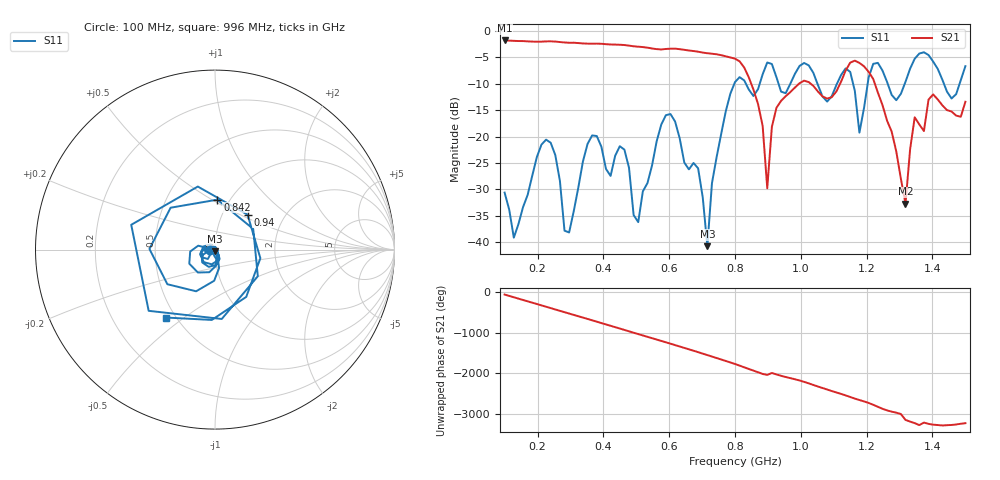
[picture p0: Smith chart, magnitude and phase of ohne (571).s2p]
! NanoVNA-App
! Date: 2025-09-25 14:25:14
! Start: 100MHz Stop: 1,5GHz Points: 101
! S-Parameter data: F S11 S21 S12 S22
# Hz S RI R 50
!  Frequency  S11_Real  S11_Imag  S21_Real  S21_Imag  S12_Real  S12_Imag  S22_Real  S22_Imag
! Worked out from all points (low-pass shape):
!   101 points, 100 MHz to 1.5 GHz, reference 50 ohm
!   highest |S21| = -1.79 dB at 100 MHz (marker M1); lowest = -32.7 dB at 1.318 GHz (marker M2)
!   |S21| within 3 dB of the highest: start of sweep to 771.3 MHz
!   lowest |S11| = -40.8 dB at 716 MHz (marker M3), VSWR 1.02, Z = 49.7 - j0.876 ohm
!   |S11| at or under -10 dB: start of sweep to 798 MHz; 833.1 MHz to 875.1 MHz (42.01 MHz wide, 4.92 % of centre); 1.051 GHz to 1.11 GHz (59.28 MHz wide, 5.49 % of centre) (the widest 3 of 7)
!   S12 and S22 are empty: the file has one direction only
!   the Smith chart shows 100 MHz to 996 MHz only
!   S11 on the Smith chart (normalised r, x): 100 MHz: 0.94, -0.01; 842 MHz: 0.88, +0.53; 940 MHz: 1.31, +0.55; 996 MHz: 0.44, -0.43
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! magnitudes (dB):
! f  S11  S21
! 100 MHz  -30.6  -1.8
! 128 MHz  -39.2  -1.9
! 226 MHz  -20.6  -2.0
! 296 MHz  -38.2  -2.2
! 338 MHz  -24.7  -2.4
! 464 MHz  -22.5  -2.7
! 506 MHz  -36.2  -3.0
! 576 MHz  -17.7  -3.5
! 688 MHz  -26.0  -3.9
! 716 MHz  -40.8  -4.2
! 800 MHz  -9.7  -5.2
! 842 MHz  -11.1  -8.8
! 898 MHz  -6.0  -29.8
! 940 MHz  -11.5  -13.2
! 996 MHz  -6.6  -9.9
! 1.038 GHz  -7.9  -10.4
! 1.178 GHz  -19.3  -6.1
! 1.22 GHz  -6.2  -9.1
! 1.276 GHz  -12.1  -19.1
! 1.318 GHz  -9.6  -32.7
! 1.346 GHz  -5.3  -16.4
! 1.5 GHz  -6.7  -13.4
